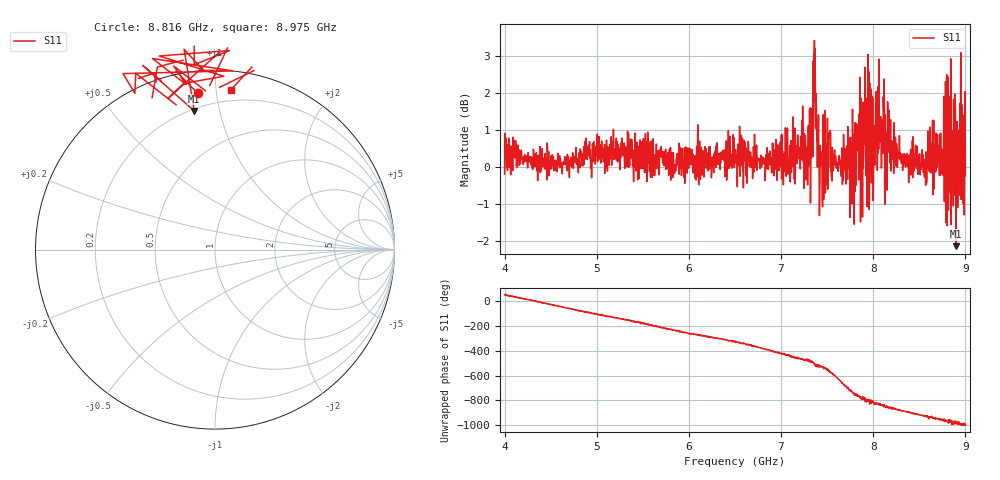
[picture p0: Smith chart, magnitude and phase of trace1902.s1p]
! Created with skrf 1.8.0 (http://scikit-rf.org).
# Hz S RI R 50.0
!freq ReS11 ImS11
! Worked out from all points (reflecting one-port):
!   1601 points, 4 GHz to 9 GHz, reference 50 ohm
!   lowest |S11| = -2.1 dB at 8.9 GHz (marker M1), VSWR 8.16, Z = 10.6 + j42 ohm
!   phase of S11 starts at 53 deg and turns -1048 deg over the sweep
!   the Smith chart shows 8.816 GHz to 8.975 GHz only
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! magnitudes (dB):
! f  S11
! 4 GHz  -0.2
! 4.1 GHz  0.3
! 4.625 GHz  -0.2
! 5.25 GHz  0.0
! 5.875 GHz  0.3
! 6.5 GHz  0.4
! 7.125 GHz  0.6
! 7.297 GHz  1.1
! 7.362 GHz  3.4
! 7.381 GHz  2.0
! 7.409 GHz  0.1
! 7.438 GHz  0.4
! 7.512 GHz  0.8
! 7.65 GHz  -0.2
! 7.75 GHz  -1.4
! 7.775 GHz  1.6
! 7.834 GHz  1.0
! 7.909 GHz  1.3
! 7.928 GHz  1.9
! 8.022 GHz  0.4
! 8.05 GHz  2.2
! 8.375 GHz  0.1
! 8.619 GHz  0.1
! 8.728 GHz  -0.2
! 8.809 GHz  2.5
! 8.9 GHz  -2.1
! 8.956 GHz  0.2
! 9 GHz  -0.2
